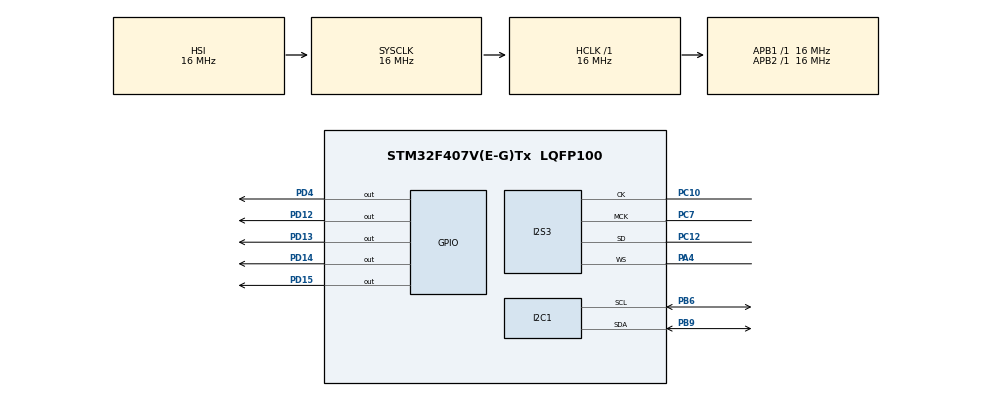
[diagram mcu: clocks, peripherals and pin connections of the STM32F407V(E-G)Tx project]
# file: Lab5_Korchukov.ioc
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Dma.Request0=SPI3_TX
Dma.SPI3_TX.0.Direction=DMA_MEMORY_TO_PERIPH
Dma.SPI3_TX.0.FIFOMode=DMA_FIFOMODE_DISABLE
Dma.SPI3_TX.0.Instance=DMA1_Stream5
Dma.SPI3_TX.0.MemDataAlignment=DMA_MDATAALIGN_BYTE
Dma.SPI3_TX.0.MemInc=DMA_MINC_ENABLE
Dma.SPI3_TX.0.Mode=DMA_CIRCULAR
Dma.SPI3_TX.0.PeriphDataAlignment=DMA_PDATAALIGN_BYTE
Dma.SPI3_TX.0.PeriphInc=DMA_PINC_DISABLE
Dma.SPI3_TX.0.Priority=DMA_PRIORITY_LOW
I2S3.AudioFreq=I2S_AUDIOFREQ_48K
I2S3.ErrorAudioFreq=-2.34 %
I2S3.FullDuplexMode=I2S_FULLDUPLEXMODE_DISABLE
I2S3.Instance=SPI$Index
I2S3.RealAudioFreq=46.875 KHz
I2S3.VirtualMode=I2S_MODE_MASTER
Mcu.Family=STM32F4
Mcu.Name=STM32F407V(E-G)Tx
Mcu.Package=LQFP100
NVIC.DMA1_Stream5_IRQn=true\:0\:0\:false\:false\:true\:false\:true\:true
NVIC.PriorityGroup=NVIC_PRIORITYGROUP_4
PA4.Mode=Half_Duplex_Master
PA4.Signal=I2S3_WS
PB6.Mode=I2C
PB6.Signal=I2C1_SCL
PB9.Mode=I2C
PB9.Signal=I2C1_SDA
PC10.Mode=Half_Duplex_Master
PC10.Signal=I2S3_CK
PC12.Mode=Half_Duplex_Master
PC12.Signal=I2S3_SD
PC7.Mode=Master_Clock_Activated
PC7.Signal=I2S3_MCK
PD12.Signal=GPIO_Output
PD13.Signal=GPIO_Output
PD14.Signal=GPIO_Output
PD15.Signal=GPIO_Output
PD4.Signal=GPIO_Output
ProjectManager.HeapSize=0x200
ProjectManager.StackSize=0x400
ProjectManager.TargetToolchain=STM32CubeIDE
RCC.AHBFreq_Value=16000000
RCC.APB1Freq_Value=16000000
RCC.APB2Freq_Value=16000000
RCC.CortexFreq_Value=16000000
RCC.HSE_VALUE=25000000
RCC.HSI_VALUE=16000000
RCC.LSE_VALUE=32768
RCC.SYSCLKFreq_VALUE=16000000
RCC.VCOOutputFreq_Value=192000000
board=custom

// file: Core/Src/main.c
/* USER CODE BEGIN Header */
/**
  ******************************************************************************
  * @file           : main.c
  * @brief          : Main program body - Music + LED Effects
  ******************************************************************************
  */
/* USER CODE END Header */

#include "main.h"

/* USER CODE BEGIN PTD */
typedef enum
{
    C4, C5, D5, E5, F5, G5, A5, B5, C6, D6, E6, F6, G6, A6, B6, MAX_VALUE
} soundToneType;
/* USER CODE END PTD */

/* USER CODE BEGIN PD */
#define CS43L22_I2C_ADDRESS     0x94
#define I2C_TIMEOUT             10
/* USER CODE END PD */

I2C_HandleTypeDef hi2c1;
I2S_HandleTypeDef hi2s3;
DMA_HandleTypeDef hdma_spi3_tx;

/* USER CODE BEGIN PV */
int16_t dataI2S[100] = {0};
const uint32_t full_note_duration = 214;
const uint32_t half_note_duration = full_note_duration >> 1;
const uint32_t quarter_note_duration = full_note_duration >> 2;
uint8_t play_count = 0;
const uint8_t max_plays = 3;
/* USER CODE END PV */

void SystemClock_Config(void);
static void MX_GPIO_Init(void);
static void MX_DMA_Init(void);
static void MX_I2C1_Init(void);
static void MX_I2S3_Init(void);

/* USER CODE BEGIN PFP */
void CS43L22_Init(void);
void CS43L22_Beep(soundToneType pitch, uint32_t duration_ms);
/* USER CODE END PFP */

/* USER CODE BEGIN 0 */

void CS43L22_Init(void)
{
    // Enable chip
    HAL_GPIO_WritePin(GPIOD, GPIO_PIN_4, GPIO_PIN_SET);

    uint8_t TxBuffer[2];

    TxBuffer[0] = 0x0D; TxBuffer[1] = 0x01;
    HAL_I2C_Master_Transmit(&hi2c1, CS43L22_I2C_ADDRESS, (uint8_t*) &TxBuffer, 2, I2C_TIMEOUT);

    TxBuffer[0] = 0x00; TxBuffer[1] = 0x99;
    HAL_I2C_Master_Transmit(&hi2c1, CS43L22_I2C_ADDRESS, (uint8_t*) &TxBuffer, 2, I2C_TIMEOUT);

    TxBuffer[0] = 0x47; TxBuffer[1] = 0x80;
    HAL_I2C_Master_Transmit(&hi2c1, CS43L22_I2C_ADDRESS, (uint8_t*) &TxBuffer, 2, I2C_TIMEOUT);

    TxBuffer[0] = 0x32; TxBuffer[1] = 0xFF;
    HAL_I2C_Master_Transmit(&hi2c1, CS43L22_I2C_ADDRESS, (uint8_t*) &TxBuffer, 2, I2C_TIMEOUT);

    TxBuffer[0] = 0x32; TxBuffer[1] = 0x7F;
    HAL_I2C_Master_Transmit(&hi2c1, CS43L22_I2C_ADDRESS, (uint8_t*) &TxBuffer, 2, I2C_TIMEOUT);

    TxBuffer[0] = 0x00; TxBuffer[1] = 0x00;
    HAL_I2C_Master_Transmit(&hi2c1, CS43L22_I2C_ADDRESS, (uint8_t*) &TxBuffer, 2, I2C_TIMEOUT);

    TxBuffer[0] = 0x04; TxBuffer[1] = 0xAF;
    HAL_I2C_Master_Transmit(&hi2c1, CS43L22_I2C_ADDRESS, (uint8_t*) &TxBuffer, 2, I2C_TIMEOUT);

    TxBuffer[0] = 0x0D; TxBuffer[1] = 0x70;
    HAL_I2C_Master_Transmit(&hi2c1, CS43L22_I2C_ADDRESS, (uint8_t*) &TxBuffer, 2, I2C_TIMEOUT);

    TxBuffer[0] = 0x05; TxBuffer[1] = 0x81;
    HAL_I2C_Master_Transmit(&hi2c1, CS43L22_I2C_ADDRESS, (uint8_t*) &TxBuffer, 2, I2C_TIMEOUT);

    TxBuffer[0] = 0x06; TxBuffer[1] = 0x07;
    HAL_I2C_Master_Transmit(&hi2c1, CS43L22_I2C_ADDRESS, (uint8_t*) &TxBuffer, 2, I2C_TIMEOUT);

    TxBuffer[0] = 0x0A; TxBuffer[1] = 0x00;
    HAL_I2C_Master_Transmit(&hi2c1, CS43L22_I2C_ADDRESS, (uint8_t*) &TxBuffer, 2, I2C_TIMEOUT);

    TxBuffer[0] = 0x27; TxBuffer[1] = 0x00;
    HAL_I2C_Master_Transmit(&hi2c1, CS43L22_I2C_ADDRESS, (uint8_t*) &TxBuffer, 2, I2C_TIMEOUT);

    TxBuffer[0] = 0x1A; TxBuffer[1] = 0x0A;
    HAL_I2C_Master_Transmit(&hi2c1, CS43L22_I2C_ADDRESS, (uint8_t*) &TxBuffer, 2, I2C_TIMEOUT);

    TxBuffer[0] = 0x1B; TxBuffer[1] = 0x0A;
    HAL_I2C_Master_Transmit(&hi2c1, CS43L22_I2C_ADDRESS, (uint8_t*) &TxBuffer, 2, I2C_TIMEOUT);

    TxBuffer[0] = 0x1F; TxBuffer[1] = 0x0F;
    HAL_I2C_Master_Transmit(&hi2c1, CS43L22_I2C_ADDRESS, (uint8_t*) &TxBuffer, 2, I2C_TIMEOUT);

    TxBuffer[0] = 0x02; TxBuffer[1] = 0x9E;
    HAL_I2C_Master_Transmit(&hi2c1, CS43L22_I2C_ADDRESS, (uint8_t*) &TxBuffer, 2, I2C_TIMEOUT);
}

void CS43L22_Beep(soundToneType pitch, uint32_t duration_ms)
{
    uint8_t TxBuffer[2];

    // Set volume and off time
    TxBuffer[0] = 0x1D;
    TxBuffer[1] = 0x00;
    HAL_I2C_Master_Transmit(&hi2c1, CS43L22_I2C_ADDRESS, (uint8_t*) &TxBuffer, 2, I2C_TIMEOUT);

    // Set sound frequency
    TxBuffer[0] = 0x1C;
    TxBuffer[1] = (pitch << 4);
    HAL_I2C_Master_Transmit(&hi2c1, CS43L22_I2C_ADDRESS, (uint8_t*) &TxBuffer, 2, I2C_TIMEOUT);

    // Enable continuous mode
    TxBuffer[0] = 0x1E;
    TxBuffer[1] = 0xC0;
    HAL_I2C_Master_Transmit(&hi2c1, CS43L22_I2C_ADDRESS, (uint8_t*) &TxBuffer, 2, I2C_TIMEOUT);

    // Playing...
    HAL_Delay(duration_ms);

    // Disable continuous mode
    TxBuffer[0] = 0x1E;
    TxBuffer[1] = 0x00;
    HAL_I2C_Master_Transmit(&hi2c1, CS43L22_I2C_ADDRESS, (uint8_t*) &TxBuffer, 2, I2C_TIMEOUT);
}

/* USER CODE END 0 */

int main(void)
{
    HAL_Init();
    SystemClock_Config();
    MX_GPIO_Init();
    MX_DMA_Init();
    MX_I2C1_Init();
    MX_I2S3_Init();

    CS43L22_Init();
    HAL_I2S_Transmit_DMA(&hi2s3, (uint16_t *)dataI2S, 100);

    while (1)
    {
        // Перевірка, чи ще потрібно грати мелодію
        if (play_count >= max_plays)
        {
            // Після 3 програвань тільки мигання світлодіодів без музики
            HAL_GPIO_WritePin(GPIOD, GPIO_PIN_12, GPIO_PIN_SET);
            HAL_Delay(250);
            HAL_GPIO_WritePin(GPIOD, GPIO_PIN_13, GPIO_PIN_SET);
            HAL_Delay(250);
            HAL_GPIO_WritePin(GPIOD, GPIO_PIN_14, GPIO_PIN_SET);
            HAL_Delay(250);
            HAL_GPIO_WritePin(GPIOD, GPIO_PIN_15, GPIO_PIN_SET);
            HAL_Delay(250);
            HAL_GPIO_WritePin(GPIOD, GPIO_PIN_15, GPIO_PIN_RESET);
            HAL_Delay(250);
            HAL_GPIO_WritePin(GPIOD, GPIO_PIN_14, GPIO_PIN_RESET);
            HAL_Delay(250);
            HAL_GPIO_WritePin(GPIOD, GPIO_PIN_13, GPIO_PIN_RESET);
            HAL_Delay(250);
            HAL_GPIO_WritePin(GPIOD, GPIO_PIN_12, GPIO_PIN_RESET);
            HAL_Delay(250);
            continue;
        }

        // Музика + світлодіоди разом (Twinkle Twinkle Little Star)

        // C5 C5 G5 G5 A5 A5 G5
        HAL_GPIO_WritePin(GPIOD, GPIO_PIN_12, GPIO_PIN_SET);
        CS43L22_Beep(C5, quarter_note_duration);
        HAL_GPIO_WritePin(GPIOD, GPIO_PIN_12, GPIO_PIN_RESET);
        HAL_Delay(quarter_note_duration);

        HAL_GPIO_WritePin(GPIOD, GPIO_PIN_12, GPIO_PIN_SET);
        CS43L22_Beep(C5, quarter_note_duration);
        HAL_GPIO_WritePin(GPIOD, GPIO_PIN_12, GPIO_PIN_RESET);
        HAL_Delay(quarter_note_duration);

        HAL_GPIO_WritePin(GPIOD, GPIO_PIN_13, GPIO_PIN_SET);
        CS43L22_Beep(G5, quarter_note_duration);
        HAL_GPIO_WritePin(GPIOD, GPIO_PIN_13, GPIO_PIN_RESET);
        HAL_Delay(quarter_note_duration);

        HAL_GPIO_WritePin(GPIOD, GPIO_PIN_13, GPIO_PIN_SET);
        CS43L22_Beep(G5, quarter_note_duration);
        HAL_GPIO_WritePin(GPIOD, GPIO_PIN_13, GPIO_PIN_RESET);
        HAL_Delay(quarter_note_duration);

        HAL_GPIO_WritePin(GPIOD, GPIO_PIN_14, GPIO_PIN_SET);
        CS43L22_Beep(A5, quarter_note_duration);
        HAL_GPIO_WritePin(GPIOD, GPIO_PIN_14, GPIO_PIN_RESET);
        HAL_Delay(quarter_note_duration);

        HAL_GPIO_WritePin(GPIOD, GPIO_PIN_14, GPIO_PIN_SET);
        CS43L22_Beep(A5, quarter_note_duration);
        HAL_GPIO_WritePin(GPIOD, GPIO_PIN_14, GPIO_PIN_RESET);
        HAL_Delay(quarter_note_duration);

        HAL_GPIO_WritePin(GPIOD, GPIO_PIN_12|GPIO_PIN_13|GPIO_PIN_14|GPIO_PIN_15, GPIO_PIN_SET);
        CS43L22_Beep(G5, quarter_note_duration);
        HAL_GPIO_WritePin(GPIOD, GPIO_PIN_12|GPIO_PIN_13|GPIO_PIN_14|GPIO_PIN_15, GPIO_PIN_RESET);
        HAL_Delay(quarter_note_duration);

        // F5 F5 E5 E5 D5 D5 C5
        HAL_GPIO_WritePin(GPIOD, GPIO_PIN_15, GPIO_PIN_SET);
        CS43L22_Beep(F5, quarter_note_duration);
        HAL_GPIO_WritePin(GPIOD, GPIO_PIN_15, GPIO_PIN_RESET);
        HAL_Delay(quarter_note_duration);

        HAL_GPIO_WritePin(GPIOD, GPIO_PIN_15, GPIO_PIN_SET);
        CS43L22_Beep(F5, quarter_note_duration);
        HAL_GPIO_WritePin(GPIOD, GPIO_PIN_15, GPIO_PIN_RESET);
        HAL_Delay(quarter_note_duration);

        HAL_GPIO_WritePin(GPIOD, GPIO_PIN_14, GPIO_PIN_SET);
        CS43L22_Beep(E5, quarter_note_duration);
        HAL_GPIO_WritePin(GPIOD, GPIO_PIN_14, GPIO_PIN_RESET);
        HAL_Delay(quarter_note_duration);

        HAL_GPIO_WritePin(GPIOD, GPIO_PIN_14, GPIO_PIN_SET);
        CS43L22_Beep(E5, quarter_note_duration);
        HAL_GPIO_WritePin(GPIOD, GPIO_PIN_14, GPIO_PIN_RESET);
        HAL_Delay(quarter_note_duration);

        HAL_GPIO_WritePin(GPIOD, GPIO_PIN_13, GPIO_PIN_SET);
        CS43L22_Beep(D5, quarter_note_duration);
        HAL_GPIO_WritePin(GPIOD, GPIO_PIN_13, GPIO_PIN_RESET);
        HAL_Delay(quarter_note_duration);

        HAL_GPIO_WritePin(GPIOD, GPIO_PIN_13, GPIO_PIN_SET);
        CS43L22_Beep(D5, quarter_note_duration);
        HAL_GPIO_WritePin(GPIOD, GPIO_PIN_13, GPIO_PIN_RESET);
        HAL_Delay(quarter_note_duration);

        HAL_GPIO_WritePin(GPIOD, GPIO_PIN_12|GPIO_PIN_13|GPIO_PIN_14|GPIO_PIN_15, GPIO_PIN_SET);
        CS43L22_Beep(C5, quarter_note_duration);
        HAL_GPIO_WritePin(GPIOD, GPIO_PIN_12|GPIO_PIN_13|GPIO_PIN_14|GPIO_PIN_15, GPIO_PIN_RESET);
        HAL_Delay(quarter_note_duration);

        // G5 G5 F5 F5 E5 E5 D5
        HAL_GPIO_WritePin(GPIOD, GPIO_PIN_13, GPIO_PIN_SET);
        CS43L22_Beep(G5, quarter_note_duration);
        HAL_GPIO_WritePin(GPIOD, GPIO_PIN_13, GPIO_PIN_RESET);
        HAL_Delay(quarter_note_duration);

        HAL_GPIO_WritePin(GPIOD, GPIO_PIN_13, GPIO_PIN_SET);
        CS43L22_Beep(G5, quarter_note_duration);
        HAL_GPIO_WritePin(GPIOD, GPIO_PIN_13, GPIO_PIN_RESET);
        HAL_Delay(quarter_note_duration);

        HAL_GPIO_WritePin(GPIOD, GPIO_PIN_15, GPIO_PIN_SET);
        CS43L22_Beep(F5, quarter_note_duration);
        HAL_GPIO_WritePin(GPIOD, GPIO_PIN_15, GPIO_PIN_RESET);
        HAL_Delay(quarter_note_duration);

        HAL_GPIO_WritePin(GPIOD, GPIO_PIN_15, GPIO_PIN_SET);
        CS43L22_Beep(F5, quarter_note_duration);
        HAL_GPIO_WritePin(GPIOD, GPIO_PIN_15, GPIO_PIN_RESET);
        HAL_Delay(quarter_note_duration);

        HAL_GPIO_WritePin(GPIOD, GPIO_PIN_14, GPIO_PIN_SET);
        CS43L22_Beep(E5, quarter_note_duration);
        HAL_GPIO_WritePin(GPIOD, GPIO_PIN_14, GPIO_PIN_RESET);
        HAL_Delay(quarter_note_duration);

        HAL_GPIO_WritePin(GPIOD, GPIO_PIN_14, GPIO_PIN_SET);
        CS43L22_Beep(E5, quarter_note_duration);
        HAL_GPIO_WritePin(GPIOD, GPIO_PIN_14, GPIO_PIN_RESET);
        HAL_Delay(quarter_note_duration);

        HAL_GPIO_WritePin(GPIOD, GPIO_PIN_12|GPIO_PIN_13|GPIO_PIN_14|GPIO_PIN_15, GPIO_PIN_SET);
        CS43L22_Beep(D5, quarter_note_duration);
        HAL_GPIO_WritePin(GPIOD, GPIO_PIN_12|GPIO_PIN_13|GPIO_PIN_14|GPIO_PIN_15, GPIO_PIN_RESET);
        HAL_Delay(quarter_note_duration);

        // G5 G5 F5 F5 E5 E5 D5
        HAL_GPIO_WritePin(GPIOD, GPIO_PIN_13, GPIO_PIN_SET);
        CS43L22_Beep(G5, quarter_note_duration);
        HAL_GPIO_WritePin(GPIOD, GPIO_PIN_13, GPIO_PIN_RESET);
        HAL_Delay(quarter_note_duration);

        HAL_GPIO_WritePin(GPIOD, GPIO_PIN_13, GPIO_PIN_SET);
        CS43L22_Beep(G5, quarter_note_duration);
        HAL_GPIO_WritePin(GPIOD, GPIO_PIN_13, GPIO_PIN_RESET);
        HAL_Delay(quarter_note_duration);

        HAL_GPIO_WritePin(GPIOD, GPIO_PIN_15, GPIO_PIN_SET);
        CS43L22_Beep(F5, quarter_note_duration);
        HAL_GPIO_WritePin(GPIOD, GPIO_PIN_15, GPIO_PIN_RESET);
        HAL_Delay(quarter_note_duration);

        HAL_GPIO_WritePin(GPIOD, GPIO_PIN_15, GPIO_PIN_SET);
        CS43L22_Beep(F5, quarter_note_duration);
        HAL_GPIO_WritePin(GPIOD, GPIO_PIN_15, GPIO_PIN_RESET);
        HAL_Delay(quarter_note_duration);

        HAL_GPIO_WritePin(GPIOD, GPIO_PIN_14, GPIO_PIN_SET);
        CS43L22_Beep(E5, quarter_note_duration);
        HAL_GPIO_WritePin(GPIOD, GPIO_PIN_14, GPIO_PIN_RESET);
        HAL_Delay(quarter_note_duration);

        HAL_GPIO_WritePin(GPIOD, GPIO_PIN_14, GPIO_PIN_SET);
        CS43L22_Beep(E5, quarter_note_duration);
        HAL_GPIO_WritePin(GPIOD, GPIO_PIN_14, GPIO_PIN_RESET);
        HAL_Delay(quarter_note_duration);

        HAL_GPIO_WritePin(GPIOD, GPIO_PIN_12|GPIO_PIN_13|GPIO_PIN_14|GPIO_PIN_15, GPIO_PIN_SET);
        CS43L22_Beep(D5, quarter_note_duration);
        HAL_GPIO_WritePin(GPIOD, GPIO_PIN_12|GPIO_PIN_13|GPIO_PIN_14|GPIO_PIN_15, GPIO_PIN_RESET);
        HAL_Delay(quarter_note_duration);

        // C5 C5 G5 G5 A5 A5 G5
        HAL_GPIO_WritePin(GPIOD, GPIO_PIN_12, GPIO_PIN_SET);
        CS43L22_Beep(C5, quarter_note_duration);
        HAL_GPIO_WritePin(GPIOD, GPIO_PIN_12, GPIO_PIN_RESET);
        HAL_Delay(quarter_note_duration);

        HAL_GPIO_WritePin(GPIOD, GPIO_PIN_12, GPIO_PIN_SET);
        CS43L22_Beep(C5, quarter_note_duration);
        HAL_GPIO_WritePin(GPIOD, GPIO_PIN_12, GPIO_PIN_RESET);
        HAL_Delay(quarter_note_duration);

        HAL_GPIO_WritePin(GPIOD, GPIO_PIN_13, GPIO_PIN_SET);
        CS43L22_Beep(G5, quarter_note_duration);
        HAL_GPIO_WritePin(GPIOD, GPIO_PIN_13, GPIO_PIN_RESET);
        HAL_Delay(quarter_note_duration);

        HAL_GPIO_WritePin(GPIOD, GPIO_PIN_13, GPIO_PIN_SET);
        CS43L22_Beep(G5, quarter_note_duration);
        HAL_GPIO_WritePin(GPIOD, GPIO_PIN_13, GPIO_PIN_RESET);
        HAL_Delay(quarter_note_duration);

        HAL_GPIO_WritePin(GPIOD, GPIO_PIN_14, GPIO_PIN_SET);
        CS43L22_Beep(A5, quarter_note_duration);
        HAL_GPIO_WritePin(GPIOD, GPIO_PIN_14, GPIO_PIN_RESET);
        HAL_Delay(quarter_note_duration);

        HAL_GPIO_WritePin(GPIOD, GPIO_PIN_14, GPIO_PIN_SET);
        CS43L22_Beep(A5, quarter_note_duration);
        HAL_GPIO_WritePin(GPIOD, GPIO_PIN_14, GPIO_PIN_RESET);
        HAL_Delay(quarter_note_duration);

        HAL_GPIO_WritePin(GPIOD, GPIO_PIN_12|GPIO_PIN_13|GPIO_PIN_14|GPIO_PIN_15, GPIO_PIN_SET);
        CS43L22_Beep(G5, quarter_note_duration);
        HAL_GPIO_WritePin(GPIOD, GPIO_PIN_12|GPIO_PIN_13|GPIO_PIN_14|GPIO_PIN_15, GPIO_PIN_RESET);
        HAL_Delay(quarter_note_duration);

        // F5 F5 E5 E5 D5 D5 C5
        HAL_GPIO_WritePin(GPIOD, GPIO_PIN_15, GPIO_PIN_SET);
        CS43L22_Beep(F5, quarter_note_duration);
        HAL_GPIO_WritePin(GPIOD, GPIO_PIN_15, GPIO_PIN_RESET);
        HAL_Delay(quarter_note_duration);

        HAL_GPIO_WritePin(GPIOD, GPIO_PIN_15, GPIO_PIN_SET);
        CS43L22_Beep(F5, quarter_note_duration);
        HAL_GPIO_WritePin(GPIOD, GPIO_PIN_15, GPIO_PIN_RESET);
        HAL_Delay(quarter_note_duration);

        HAL_GPIO_WritePin(GPIOD, GPIO_PIN_14, GPIO_PIN_SET);
        CS43L22_Beep(E5, quarter_note_duration);
        HAL_GPIO_WritePin(GPIOD, GPIO_PIN_14, GPIO_PIN_RESET);
        HAL_Delay(quarter_note_duration);

        HAL_GPIO_WritePin(GPIOD, GPIO_PIN_14, GPIO_PIN_SET);
        CS43L22_Beep(E5, quarter_note_duration);
        HAL_GPIO_WritePin(GPIOD, GPIO_PIN_14, GPIO_PIN_RESET);
        HAL_Delay(quarter_note_duration);

        HAL_GPIO_WritePin(GPIOD, GPIO_PIN_13, GPIO_PIN_SET);
        CS43L22_Beep(D5, quarter_note_duration);
        HAL_GPIO_WritePin(GPIOD, GPIO_PIN_13, GPIO_PIN_RESET);
        HAL_Delay(quarter_note_duration);

        HAL_GPIO_WritePin(GPIOD, GPIO_PIN_13, GPIO_PIN_SET);
        CS43L22_Beep(D5, quarter_note_duration);
        HAL_GPIO_WritePin(GPIOD, GPIO_PIN_13, GPIO_PIN_RESET);
        HAL_Delay(quarter_note_duration);

        HAL_GPIO_WritePin(GPIOD, GPIO_PIN_12|GPIO_PIN_13|GPIO_PIN_14|GPIO_PIN_15, GPIO_PIN_SET);
        CS43L22_Beep(C5, quarter_note_duration);
        HAL_GPIO_WritePin(GPIOD, GPIO_PIN_12|GPIO_PIN_13|GPIO_PIN_14|GPIO_PIN_15, GPIO_PIN_RESET);
        HAL_Delay(quarter_note_duration);

        // Збільшуємо лічильник програвань
        play_count++;

        // Пауза перед повтором всієї мелодії
        HAL_Delay(1000);
    }
}

static void MX_GPIO_Init(void)
{
    GPIO_InitTypeDef GPIO_InitStruct = {0};

    /* GPIO Ports Clock Enable */
    __HAL_RCC_GPIOA_CLK_ENABLE();
    __HAL_RCC_GPIOC_CLK_ENABLE();
    __HAL_RCC_GPIOD_CLK_ENABLE();
    __HAL_RCC_GPIOB_CLK_ENABLE();

    /*Configure GPIO pin Output Level */
    HAL_GPIO_WritePin(GPIOD, GPIO_PIN_4, GPIO_PIN_RESET);
    HAL_GPIO_WritePin(GPIOD, GPIO_PIN_12|GPIO_PIN_13|GPIO_PIN_14|GPIO_PIN_15, GPIO_PIN_RESET);

    /*Configure GPIO pins : PD4, PD12, PD13, PD14, PD15 */
    GPIO_InitStruct.Pin = GPIO_PIN_4|GPIO_PIN_12|GPIO_PIN_13|GPIO_PIN_14|GPIO_PIN_15;
    GPIO_InitStruct.Mode = GPIO_MODE_OUTPUT_PP;
    GPIO_InitStruct.Pull = GPIO_NOPULL;
    GPIO_InitStruct.Speed = GPIO_SPEED_FREQ_LOW;
    HAL_GPIO_Init(GPIOD, &GPIO_InitStruct);
}

void SystemClock_Config(void)
{
    RCC_OscInitTypeDef RCC_OscInitStruct = {0};
    RCC_ClkInitTypeDef RCC_ClkInitStruct = {0};

    __HAL_RCC_PLL_PLLM_CONFIG(16);
    __HAL_RCC_PLL_PLLSOURCE_CONFIG(RCC_PLLSOURCE_HSI);
    __HAL_RCC_PWR_CLK_ENABLE();
    __HAL_PWR_VOLTAGESCALING_CONFIG(PWR_REGULATOR_VOLTAGE_SCALE1);

    RCC_OscInitStruct.OscillatorType = RCC_OSCILLATORTYPE_HSI;
    RCC_OscInitStruct.HSIState = RCC_HSI_ON;
    RCC_OscInitStruct.HSICalibrationValue = RCC_HSICALIBRATION_DEFAULT;
    RCC_OscInitStruct.PLL.PLLState = RCC_PLL_NONE;
    RCC_OscInitStruct.PLL.PLLSource = RCC_PLLSOURCE_HSI;
    if (HAL_RCC_OscConfig(&RCC_OscInitStruct) != HAL_OK)
    {
        Error_Handler();
    }

    RCC_ClkInitStruct.ClockType = RCC_CLOCKTYPE_HCLK|RCC_CLOCKTYPE_SYSCLK|RCC_CLOCKTYPE_PCLK1|RCC_CLOCKTYPE_PCLK2;
    RCC_ClkInitStruct.SYSCLKSource = RCC_SYSCLKSOURCE_HSI;
    RCC_ClkInitStruct.AHBCLKDivider = RCC_SYSCLK_DIV1;
    RCC_ClkInitStruct.APB1CLKDivider = RCC_HCLK_DIV1;
    RCC_ClkInitStruct.APB2CLKDivider = RCC_HCLK_DIV1;

    if (HAL_RCC_ClockConfig(&RCC_ClkInitStruct, FLASH_LATENCY_0) != HAL_OK)
    {
        Error_Handler();
    }
}

static void MX_I2C1_Init(void)
{
    hi2c1.Instance = I2C1;
    hi2c1.Init.ClockSpeed = 100000;
    hi2c1.Init.DutyCycle = I2C_DUTYCYCLE_2;
    hi2c1.Init.OwnAddress1 = 0;
    hi2c1.Init.AddressingMode = I2C_ADDRESSINGMODE_7BIT;
    hi2c1.Init.DualAddressMode = I2C_DUALADDRESS_DISABLE;
    hi2c1.Init.OwnAddress2 = 0;
    hi2c1.Init.GeneralCallMode = I2C_GENERALCALL_DISABLE;
    hi2c1.Init.NoStretchMode = I2C_NOSTRETCH_DISABLE;
    if (HAL_I2C_Init(&hi2c1) != HAL_OK)
    {
        Error_Handler();
    }
}

static void MX_I2S3_Init(void)
{
    hi2s3.Instance = SPI3;
    hi2s3.Init.Mode = I2S_MODE_MASTER_TX;
    hi2s3.Init.Standard = I2S_STANDARD_PHILIPS;
    hi2s3.Init.DataFormat = I2S_DATAFORMAT_16B;
    hi2s3.Init.MCLKOutput = I2S_MCLKOUTPUT_ENABLE;
    hi2s3.Init.AudioFreq = I2S_AUDIOFREQ_48K;
    hi2s3.Init.CPOL = I2S_CPOL_LOW;
    hi2s3.Init.ClockSource = I2S_CLOCK_PLL;
    hi2s3.Init.FullDuplexMode = I2S_FULLDUPLEXMODE_DISABLE;
    if (HAL_I2S_Init(&hi2s3) != HAL_OK)
    {
        Error_Handler();
    }
}

static void MX_DMA_Init(void)
{
    __HAL_RCC_DMA1_CLK_ENABLE();
    HAL_NVIC_SetPriority(DMA1_Stream5_IRQn, 0, 0);
    HAL_NVIC_EnableIRQ(DMA1_Stream5_IRQn);
}

void Error_Handler(void)
{
    __disable_irq();
    while (1) {}
}
